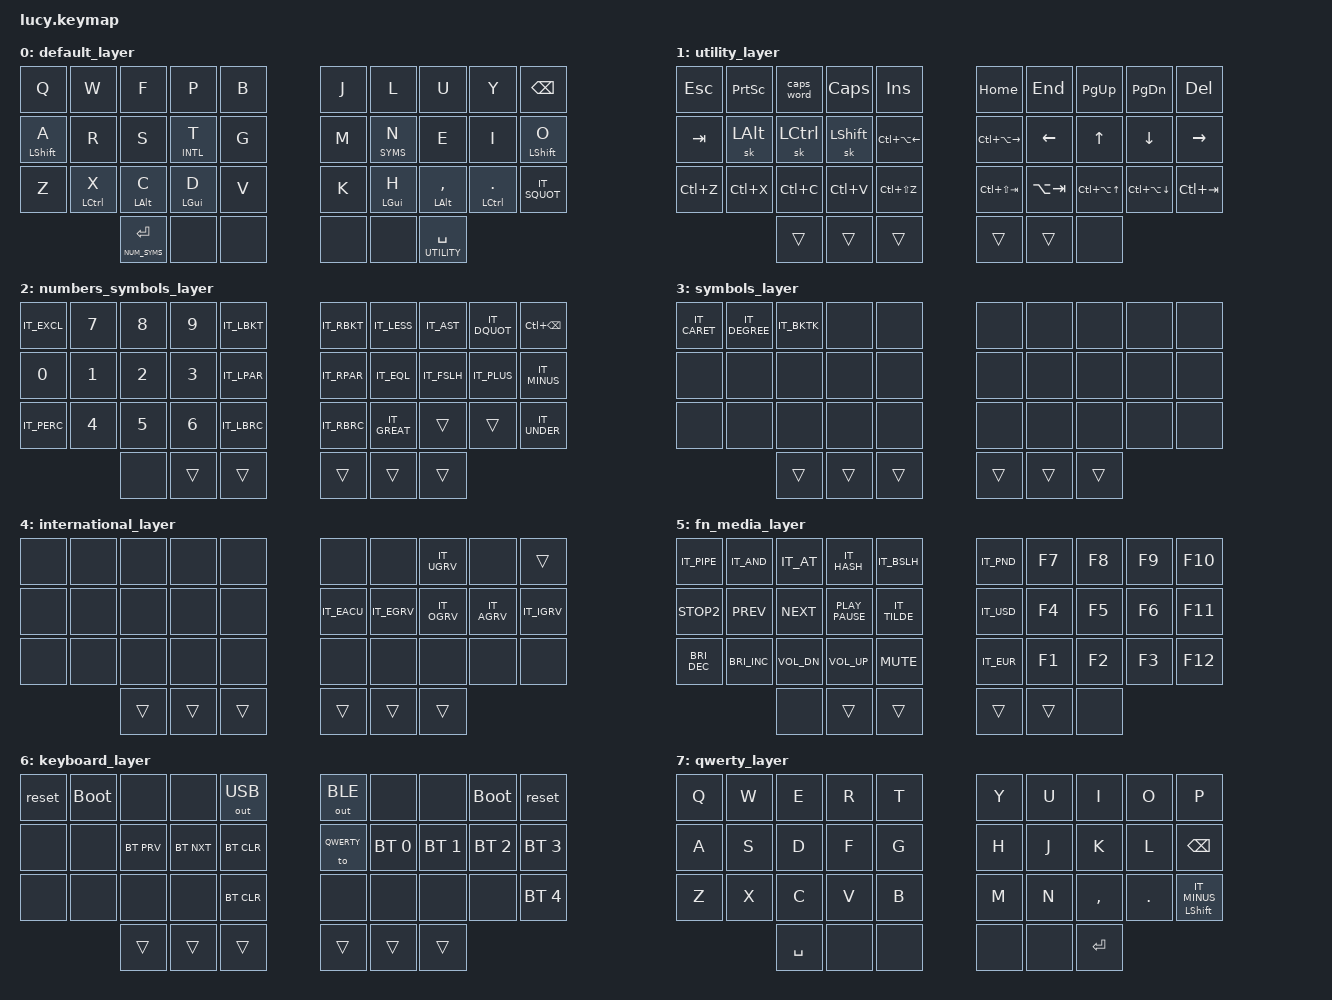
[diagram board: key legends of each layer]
/*
 * Copyright (c) 2020 The ZMK Contributors
 *
 * SPDX-License-Identifier: MIT
 */

#include "./boards/shields/lucy/italian.keycodes"

#include <behaviors.dtsi>
#include <dt-bindings/zmk/keys.h>
#include <dt-bindings/zmk/outputs.h>
#include <dt-bindings/zmk/bt.h>

#define DEFAULT                 0

#define UTILITY                 1

#define NUM_SYMS                2

#define SYMS                    3

#define INTL                    4

#define FN_MEDIA                5

#define KEYBOARD                6

#define QWERTY                  7

&mt {
    //tapping-term-ms = <300>;
    //quick_tap_ms = <0>;
    //flavor = "tap-preferred";
    //retro-tap;
};

// configure the sticky layer behavior
&sl {
    release-after-ms = <3000>;
};

/ {

    combos {
        compatible = "zmk,combos";

        // Activate the KEYBOARD layer for only one key press
        combo_goto_keyboard {
            timeout-ms = <75>;
            layers= <FN_MEDIA>;
            key-positions = <0 9>;
            bindings = <&sl KEYBOARD>;
        };

        // Get back to default layer by pressing both thumb keys
        combo_escape_qwerty {
            timeout-ms = <50>;
            layers= <QWERTY>;
            key-positions = <30 35>;
            bindings = <&to DEFAULT>;
        };

        combo_emergency_back_to_default {
            timeout-ms = <30>;
            key-positions = <10 19 20 29>;
            bindings = <&to DEFAULT>;
        };
   };

    conditional_layers {
        compatible = "zmk,conditional-layers";
        tri_layer {
            if-layers = <UTILITY NUM_SYMS>;
            then-layer = <FN_MEDIA>;
        };
    };

    behaviors {

        lt_left: layer_toggle_left {
            compatible = "zmk,behavior-hold-tap";
            label = "LAYER_TOGGLE_LEFT";
            #binding-cells = <2>;
            tapping-term-ms = <175>;
            quick_tap_ms = <80>;
            flavor = "tap-preferred";
            bindings = <&mo>, <&kp>;
            hold-trigger-key-positions = <5 6 7 8 9 15 16 17 18 19 25 26 27 28 29>;    // <---[[right-hand keys]]
        };

        lt_right: layer_toggle_right {
            compatible = "zmk,behavior-hold-tap";
            label = "LAYER_TOGGLE_RIGHT";
            #binding-cells = <2>;
            tapping-term-ms = <175>;
            quick_tap_ms = <80>;
            flavor = "tap-preferred";
            bindings = <&mo>, <&kp>;
            hold-trigger-key-positions = <0 1 2 3 4 10 11 12 13 14 20 21 22 23 24>;    // <---[[left-hand keys]]

        };

        // Behaviors for mods in the bottom row
        m_left: mods_left {
            compatible = "zmk,behavior-hold-tap";
            label = "MODS_LEFT";
            #binding-cells = <2>;
            //flavor = "tap-unless-interrupted";
            flavor = "tap-preferred";
            tapping-term-ms = <175>;
            quick-tap-ms = <125>;
            bindings = <&kp>, <&kp>;
            hold-trigger-key-positions = <5 6 7 8 9 15 16 17 18 19 25 26 27 28 29>;    // <---[[right-hand keys]]
        };

        m_right: right_mods {
            compatible = "zmk,behavior-hold-tap";
            label = "MODS_RIGHT";
            #binding-cells = <2>;
            //flavor = "tap-unless-interrupted";
            flavor = "tap-preferred";
            tapping-term-ms = <175>;
            quick-tap-ms = <125>;
            bindings = <&kp>, <&kp>;
            hold-trigger-key-positions = <0 1 2 3 4 10 11 12 13 14 20 21 22 23 24>;    // <---[[left-hand keys]]
       };

    // Layer on left thumb is for quick access to symbols used while typing so I need a shorter window for triggering
    // the hold behavior. This is possible as RETURN is not used in the middle of something. Balanced behavior is perfect here
    qlt: quick_layer_toggle {
            compatible = "zmk,behavior-hold-tap";
            label = "LEFT_LAYER_TOGGLE";
            #binding-cells = <2>;
            tapping-term-ms = <125>;
            quick-tap-ms = <0>;
            flavor = "balanced";
            bindings = <&mo>, <&kp>;
       };
    };

// RIGHT NOW IT IS MEANT TO BE USED WITH THE ITALIAN QWERTY LAYOUT

        keymap {
                compatible = "zmk,keymap";

//  0 - DEFAULT
       		default_layer {
		bindings = <
		&kp Q &kp W &kp F &kp P &kp B                                       &kp J &kp L  &kp U    &kp Y   &kp BKSP
		&m_left LSHFT A &kp R &kp S &lt_left INTL T &kp G 			        &kp M &lt_right SYMS N &kp E &kp I &m_right LSHFT O
		&kp Z &m_left LCTRL X &m_left LALT C &m_left LGUI D &kp V		    &kp K &m_right LGUI H  &m_right LALT CMMA &m_right LCTRL DOT &kp IT_SQUOT
          	                        &qlt NUM_SYMS RET &none &none  		    &none &none &lt UTILITY SPC
		>;
		};

// 1 - UTILITY LAYER
		    utility_layer {
		bindings = <
		&kp ESC &kp PRINTSCREEN &caps_word &kp CAPS &kp INSERT          &kp HOME &kp END &kp PAGE_UP &kp PAGE_DOWN &kp DEL
		&kp TAB &sk LALT &sk LCTRL &sk LSHIFT &kp LC(LA(LEFT))          &kp LC(LA(RIGHT)) &kp LEFT &kp UP &kp DOWN &kp RIGHT
		&kp LC(Z) &kp LC(X) &kp LC(C) &kp LC(V) &kp LC(LS(Z))           &kp LC(LS(TAB)) &kp LA(TAB) &kp LC(LA(UP)) &kp LC(LA(DOWN)) &kp LC(TAB)
					                     &trans &trans &trans           &trans &trans &none
		>;
		};

// 2 - NUMBERS AND SYMBOLS LAYER
            numbers_symbols_layer {
		bindings = <
		&kp IT_EXCL &kp N7 &kp N8 &kp N9  &kp IT_LBKT         &kp IT_RBKT &kp IT_LESS &kp IT_AST &kp IT_DQUOT &kp LC(BKSP)
		&kp N0 &kp N1 &kp N2 &kp N3       &kp IT_LPAR         &kp IT_RPAR &kp IT_EQL &kp IT_FSLH &kp IT_PLUS &kp IT_MINUS
		&kp IT_PERC &kp N4 &kp N5 &kp N6  &kp IT_LBRC         &kp IT_RBRC &kp IT_GREAT &trans &trans &kp IT_UNDER
					              &none &trans &trans         &trans &trans &trans
		>;
		};


// 3 - SYMBOLS LAYER
            symbols_layer {
		bindings = <
		&kp IT_CARET &kp IT_DEGREE &kp IT_BKTK &none &none            &none &none &none &none &none
		&none &none &none &none &none                                 &none &none &none &none &none
		&none &none &none &none &none                                 &none &none &none &none &none
					                  &trans &trans &trans            &trans &trans &trans
		>;
		};

// 4 - INTERNATIONAL LAYER
            international_layer {
		bindings = <
		&none &none &none &none &none           &none &none &kp IT_UGRV &none &trans
		&none &none &none &none &none           &kp IT_EACU &kp IT_EGRV &kp IT_OGRV &kp IT_AGRV &kp IT_IGRV
		&none &none &none &none &none           &none &none &none &none &none
				 &trans &trans &trans           &trans &trans &trans
		>;
		};

// 5 - FUNCTIONS AND MEDIA KEYS
		    fn_media_layer {
		bindings = <
		&kp IT_PIPE &kp IT_AND &kp IT_AT &kp IT_HASH &kp IT_BSLH                 &kp IT_PND &kp F7 &kp F8 &kp F9 &kp F10
        &kp K_STOP2 &kp K_PREV &kp K_NEXT &kp K_PLAY_PAUSE &kp IT_TILDE          &kp IT_USD &kp F4 &kp F5 &kp F6 &kp F11
        &kp C_BRI_DEC &kp C_BRI_INC &kp K_VOL_DN &kp K_VOL_UP &kp K_MUTE         &kp IT_EUR &kp F1 &kp F2 &kp F3 &kp F12
                                                     &none &trans &trans         &trans &trans &none
		>;
		};

// 6 - KEYBOARD LAYER
		    keyboard_layer {
		bindings = <
		&reset  &bootloader &none &none &out OUT_USB 			        &out OUT_BLE &none   &none   &bootloader  &reset
		&none &none &bt BT_PRV &bt BT_NXT &bt BT_CLR  			        &to QWERTY &bt BT_SEL 0  &bt BT_SEL 1 &bt BT_SEL 2 &bt BT_SEL 3
		&none  &none &none &none &bt BT_CLR   				            &none &none &none &none &bt BT_SEL 4
				            	&trans &trans &trans  					&trans &trans &trans
		>;
		};

//  QWERTY, mainly for gaming or letting others try the keyboard
       		qwerty_layer {
		bindings = <
		&kp Q &kp W &kp E &kp R  &kp T 						&kp Y &kp U  &kp I &kp O &kp P
		&kp A &kp S &kp D &kp F &kp G 			        	&kp H &kp J &kp K &kp L &kp BKSP
		&kp Z &kp X &kp C &kp V &kp B				        &kp M &kp N &kp CMMA &kp DOT &mt LSHFT IT_MINUS
          				&kp SPC &none &none   		        &none &none &kp RET
		>;
		};

	};
};
